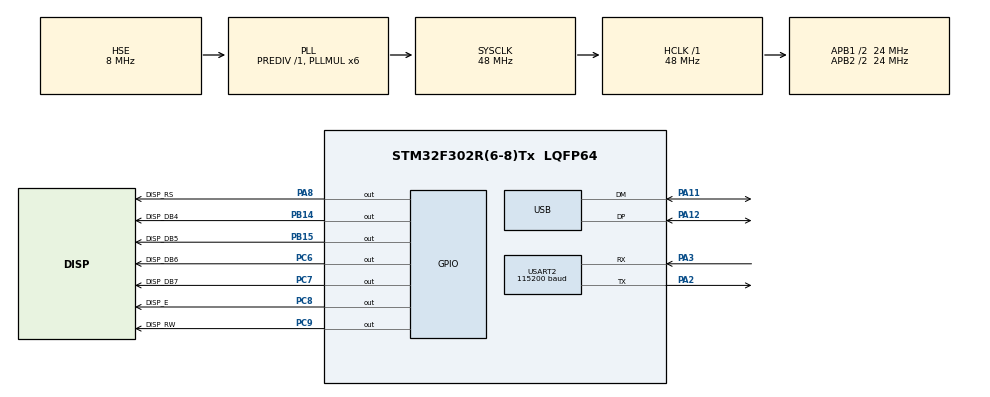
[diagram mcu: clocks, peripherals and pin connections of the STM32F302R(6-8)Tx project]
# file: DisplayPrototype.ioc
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Mcu.Family=STM32F3
Mcu.Name=STM32F302R(6-8)Tx
Mcu.Package=LQFP64
NVIC.PriorityGroup=NVIC_PRIORITYGROUP_4
NVIC.USB_LP_CAN_RX0_IRQn=true\:0\:0\:false\:false\:true
PA11.Mode=Device
PA11.Signal=USB_DM
PA12.Mode=Device
PA12.Signal=USB_DP
PA13.Mode=JTAG_5_pins
PA13.Signal=SYS_JTMS-SWDIO
PA14.Mode=JTAG_5_pins
PA14.Signal=SYS_JTCK-SWCLK
PA15.Mode=JTAG_5_pins
PA15.Signal=SYS_JTDI
PA2.Mode=Asynchronous
PA2.Signal=USART2_TX
PA3.Mode=Asynchronous
PA3.Signal=USART2_RX
PA8.GPIO_Label=DISP_RS
PA8.Signal=GPIO_Output
PB14.GPIO_Label=DISP_DB4
PB14.Signal=GPIO_Output
PB15.GPIO_Label=DISP_DB5
PB15.Signal=GPIO_Output
PB3.Mode=JTAG_5_pins
PB3.Signal=SYS_JTDO-TRACESWO
PB4.Mode=JTAG_5_pins
PB4.Signal=SYS_NJTRST
PC6.GPIO_Label=DISP_DB6
PC6.Signal=GPIO_Output
PC7.GPIO_Label=DISP_DB7
PC7.Signal=GPIO_Output
PC8.GPIO_Label=DISP_E
PC8.Signal=GPIO_Output
PC9.GPIO_Label=DISP_RW
PC9.Signal=GPIO_Output
PF0-OSC_IN.Mode=HSE-External-Oscillator
PF0-OSC_IN.Signal=RCC_OSC_IN
PF1-OSC_OUT.Mode=HSE-External-Oscillator
PF1-OSC_OUT.Signal=RCC_OSC_OUT
ProjectManager.HeapSize=0x200
ProjectManager.StackSize=0x400
ProjectManager.TargetToolchain=MDK-ARM V5
RCC.AHBFreq_Value=48000000
RCC.APB1CLKDivider=RCC_HCLK_DIV2
RCC.APB1Freq_Value=24000000
RCC.APB1TimFreq_Value=48000000
RCC.APB2CLKDivider=RCC_HCLK_DIV2
RCC.APB2Freq_Value=24000000
RCC.APB2TimFreq_Value=48000000
RCC.CortexFreq_Value=48000000
RCC.HCLKFreq_Value=48000000
RCC.HSE_VALUE=8000000
RCC.HSIState=RCC_HSI_ON
RCC.HSI_VALUE=8000000
RCC.LSE_VALUE=32768
RCC.PLLMUL=RCC_PLL_MUL6
RCC.SYSCLKFreq_VALUE=48000000
RCC.SYSCLKSourceVirtual=RCC_SYSCLKSOURCE_PLLCLK
RCC.USBFreq_Value=48000000
USART2.BaudRate=115200
USART2.WordLength=UART_WORDLENGTH_8B
USB_DEVICE.USBD_HandleTypeDef=hUsbDeviceFS
USB_DEVICE.VirtualMode=Hid
USB_DEVICE.VirtualModeFS=Hid_FS
VP_USB_DEVICE_VS_USB_DEVICE_HID_FS.Mode=HID_FS
board=DisplayPrototype

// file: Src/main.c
/**
  ******************************************************************************
  * File Name          : main.c
  * Description        : Main program body
  ******************************************************************************
  *
  * COPYRIGHT(c) 2016 STMicroelectronics
  *
  * Redistribution and use in source and binary forms, with or without modification,
  * are permitted provided that the following conditions are met:
  *   1. Redistributions of source code must retain the above copyright notice,
  *      this list of conditions and the following disclaimer.
  *   2. Redistributions in binary form must reproduce the above copyright notice,
  *      this list of conditions and the following disclaimer in the documentation
  *      and/or other materials provided with the distribution.
  *   3. Neither the name of STMicroelectronics nor the names of its contributors
  *      may be used to endorse or promote products derived from this software
  *      without specific prior written permission.
  *
  * THIS SOFTWARE IS PROVIDED BY THE COPYRIGHT HOLDERS AND CONTRIBUTORS "AS IS"
  * AND ANY EXPRESS OR IMPLIED WARRANTIES, INCLUDING, BUT NOT LIMITED TO, THE
  * IMPLIED WARRANTIES OF MERCHANTABILITY AND FITNESS FOR A PARTICULAR PURPOSE ARE
  * DISCLAIMED. IN NO EVENT SHALL THE COPYRIGHT HOLDER OR CONTRIBUTORS BE LIABLE
  * FOR ANY DIRECT, INDIRECT, INCIDENTAL, SPECIAL, EXEMPLARY, OR CONSEQUENTIAL
  * DAMAGES (INCLUDING, BUT NOT LIMITED TO, PROCUREMENT OF SUBSTITUTE GOODS OR
  * SERVICES; LOSS OF USE, DATA, OR PROFITS; OR BUSINESS INTERRUPTION) HOWEVER
  * CAUSED AND ON ANY THEORY OF LIABILITY, WHETHER IN CONTRACT, STRICT LIABILITY,
  * OR TORT (INCLUDING NEGLIGENCE OR OTHERWISE) ARISING IN ANY WAY OUT OF THE USE
  * OF THIS SOFTWARE, EVEN IF ADVISED OF THE POSSIBILITY OF SUCH DAMAGE.
  *
  ******************************************************************************
  */
#include "stm32f3xx_hal.h"
#include "usb_device.h"

UART_HandleTypeDef huart2;

/* USER CODE BEGIN PV */
/* Private variables ---------------------------------------------------------*/

/* USER CODE END PV */

void SystemClock_Config(void);
void Error_Handler(void);
static void MX_GPIO_Init(void);
static void MX_USART2_UART_Init(void);

/* USER CODE BEGIN PFP */
/* Private function prototypes -----------------------------------------------*/

/* USER CODE END PFP */

/* USER CODE BEGIN 0 */

void lcdDelay(void){
	uint32_t i;
	i = 0;
	while(i < 10000) i++;
}

uint8_t lcdReadBus(void){
	uint8_t data;

	// Configure bus as input
	GPIO_InitTypeDef GPIO_InitStruct;

	GPIO_InitStruct.Pin = DISP_DB4_Pin|DISP_DB5_Pin;
	GPIO_InitStruct.Mode = GPIO_MODE_INPUT;
	GPIO_InitStruct.Pull = GPIO_NOPULL;
	GPIO_InitStruct.Speed = GPIO_SPEED_FREQ_LOW;
	HAL_GPIO_Init(GPIOB, &GPIO_InitStruct);

	GPIO_InitStruct.Pin = DISP_DB6_Pin|DISP_DB7_Pin;
	GPIO_InitStruct.Mode = GPIO_MODE_INPUT;
	GPIO_InitStruct.Pull = GPIO_NOPULL;
	GPIO_InitStruct.Speed = GPIO_SPEED_FREQ_LOW;
	HAL_GPIO_Init(GPIOC, &GPIO_InitStruct);

	data = 0;
	if(HAL_GPIO_ReadPin(GPIOB,DISP_DB4_Pin))	data += 1;
	if(HAL_GPIO_ReadPin(GPIOB,DISP_DB5_Pin))	data += 2;
	if(HAL_GPIO_ReadPin(GPIOC,DISP_DB6_Pin))	data += 4;
	if(HAL_GPIO_ReadPin(GPIOC,DISP_DB7_Pin))	data += 8;

	return data;
}

void lcdWriteBus(uint8_t rs, uint8_t data){
	// Configure bus as output
	GPIO_InitTypeDef GPIO_InitStruct;

	/*Configure GPIO pins : DISP_DB4_Pin DISP_DB5_Pin */
	GPIO_InitStruct.Pin = DISP_DB4_Pin|DISP_DB5_Pin;
	GPIO_InitStruct.Mode = GPIO_MODE_OUTPUT_PP;
	GPIO_InitStruct.Pull = GPIO_NOPULL;
	GPIO_InitStruct.Speed = GPIO_SPEED_FREQ_LOW;
	HAL_GPIO_Init(GPIOB, &GPIO_InitStruct);

	/*Configure GPIO pins : DISP_DB6_Pin DISP_DB7_Pin DISP_E_Pin DISP_RW_Pin */
	GPIO_InitStruct.Pin = DISP_DB6_Pin|DISP_DB7_Pin|DISP_E_Pin|DISP_RW_Pin;
	GPIO_InitStruct.Mode = GPIO_MODE_OUTPUT_PP;
	GPIO_InitStruct.Pull = GPIO_NOPULL;
	GPIO_InitStruct.Speed = GPIO_SPEED_FREQ_LOW;
	HAL_GPIO_Init(GPIOC, &GPIO_InitStruct);

	/*Configure GPIO pin : DISP_RS_Pin */
	GPIO_InitStruct.Pin = DISP_RS_Pin;
	GPIO_InitStruct.Mode = GPIO_MODE_OUTPUT_PP;
	GPIO_InitStruct.Pull = GPIO_NOPULL;
	GPIO_InitStruct.Speed = GPIO_SPEED_FREQ_LOW;
	HAL_GPIO_Init(DISP_RS_GPIO_Port, &GPIO_InitStruct);

	lcdDelay();
	if(rs)	HAL_GPIO_WritePin(DISP_RS_GPIO_Port, DISP_RS_Pin, GPIO_PIN_RESET);
	else 	HAL_GPIO_WritePin(DISP_RS_GPIO_Port, DISP_RS_Pin, GPIO_PIN_SET);

	HAL_GPIO_WritePin(GPIOC, DISP_RW_Pin, GPIO_PIN_SET);

	lcdDelay();

	HAL_GPIO_WritePin(GPIOC, DISP_E_Pin, GPIO_PIN_RESET);

	lcdDelay();

	if(data & 0x01)	HAL_GPIO_WritePin(GPIOB, DISP_DB4_Pin, GPIO_PIN_RESET);
	else			HAL_GPIO_WritePin(GPIOB, DISP_DB4_Pin, GPIO_PIN_SET);

	if(data & 0x02)	HAL_GPIO_WritePin(GPIOB, DISP_DB5_Pin, GPIO_PIN_RESET);
	else			HAL_GPIO_WritePin(GPIOB, DISP_DB5_Pin, GPIO_PIN_SET);

	if(data & 0x04)	HAL_GPIO_WritePin(GPIOC, DISP_DB6_Pin, GPIO_PIN_RESET);
	else			HAL_GPIO_WritePin(GPIOC, DISP_DB6_Pin, GPIO_PIN_SET);

	if(data & 0x08)	HAL_GPIO_WritePin(GPIOC, DISP_DB7_Pin, GPIO_PIN_RESET);
	else			HAL_GPIO_WritePin(GPIOC, DISP_DB7_Pin, GPIO_PIN_SET);

	lcdDelay();

	HAL_GPIO_WritePin(GPIOC, DISP_E_Pin, GPIO_PIN_SET);

	lcdDelay();
}

void lcdInit(void){

	// Top nibble first

//	lcdWriteBus(0,0x03);
//	lcdWriteBus(0,0x03);
//	lcdWriteBus(0,0x03);
//

//	lcdWriteBus(0,0x02);
//	lcdWriteBus(0,0x02);
//	lcdWriteBus(0,0x0C);
//	lcdWriteBus(0,0x00);
//	lcdWriteBus(0,0x08);
//	lcdWriteBus(0,0x00);
//	lcdWriteBus(0,0x01);
//	lcdWriteBus(0,0x00);
//	lcdWriteBus(0,0x07);

	lcdWriteBus(0,0x02);
	lcdWriteBus(0,0x02);
	lcdWriteBus(0,0x00);
	lcdWriteBus(0,0x00);
	lcdWriteBus(0,0x0E);
	lcdWriteBus(0,0x00);
	lcdWriteBus(0,0x06);
	lcdWriteBus(1,0x05);
	lcdWriteBus(1,0x07);

}

/* USER CODE END 0 */

int main(void)
{

  /* USER CODE BEGIN 1 */

	uint8_t buffer[32];
	uint32_t i;

  /* USER CODE END 1 */

  /* MCU Configuration----------------------------------------------------------*/

  /* Reset of all peripherals, Initializes the Flash interface and the Systick. */
  HAL_Init();

  /* Configure the system clock */
  SystemClock_Config();

  /* Initialize all configured peripherals */
  MX_GPIO_Init();
  MX_USART2_UART_Init();
  MX_USB_DEVICE_Init();

  /* USER CODE BEGIN 2 */
	buffer[0] = 't';
	buffer[1] = 'e';
	buffer[2] = 's';
	buffer[3] = 't';
	buffer[4] = '\n';
	buffer[5] = '\r';

	HAL_UART_Transmit(&huart2, &buffer[0], 6, 10);

	//for(;;){
		for(i=0;i<100;i++){
		lcdDelay();
	}

		lcdInit();

		HAL_UART_Transmit(&huart2, &buffer[0], 6, 10);
	//}
	//buffer[0] = lcdReadBus() + 65;
	//HAL_UART_Transmit(&huart2, &buffer[0], 1, 10);

  /* USER CODE END 2 */

  /* Infinite loop */
  while (1)
  {

  }

}

/** System Clock Configuration
*/
void SystemClock_Config(void)
{

  RCC_OscInitTypeDef RCC_OscInitStruct;
  RCC_ClkInitTypeDef RCC_ClkInitStruct;
  RCC_PeriphCLKInitTypeDef PeriphClkInit;

  RCC_OscInitStruct.OscillatorType = RCC_OSCILLATORTYPE_HSE;
  RCC_OscInitStruct.HSEState = RCC_HSE_ON;
  RCC_OscInitStruct.HSEPredivValue = RCC_HSE_PREDIV_DIV1;
  RCC_OscInitStruct.PLL.PLLState = RCC_PLL_ON;
  RCC_OscInitStruct.PLL.PLLSource = RCC_PLLSOURCE_HSE;
  RCC_OscInitStruct.PLL.PLLMUL = RCC_PLL_MUL6;
  if (HAL_RCC_OscConfig(&RCC_OscInitStruct) != HAL_OK)
  {
    Error_Handler();
  }

  RCC_ClkInitStruct.ClockType = RCC_CLOCKTYPE_HCLK|RCC_CLOCKTYPE_SYSCLK
                              |RCC_CLOCKTYPE_PCLK1|RCC_CLOCKTYPE_PCLK2;
  RCC_ClkInitStruct.SYSCLKSource = RCC_SYSCLKSOURCE_PLLCLK;
  RCC_ClkInitStruct.AHBCLKDivider = RCC_SYSCLK_DIV1;
  RCC_ClkInitStruct.APB1CLKDivider = RCC_HCLK_DIV2;
  RCC_ClkInitStruct.APB2CLKDivider = RCC_HCLK_DIV2;
  if (HAL_RCC_ClockConfig(&RCC_ClkInitStruct, FLASH_LATENCY_1) != HAL_OK)
  {
    Error_Handler();
  }

  PeriphClkInit.PeriphClockSelection = RCC_PERIPHCLK_USB;
  PeriphClkInit.USBClockSelection = RCC_USBCLKSOURCE_PLL;
  if (HAL_RCCEx_PeriphCLKConfig(&PeriphClkInit) != HAL_OK)
  {
    Error_Handler();
  }

  HAL_SYSTICK_Config(HAL_RCC_GetHCLKFreq()/1000);

  HAL_SYSTICK_CLKSourceConfig(SYSTICK_CLKSOURCE_HCLK);

  /* SysTick_IRQn interrupt configuration */
  HAL_NVIC_SetPriority(SysTick_IRQn, 0, 0);
}

/* USART2 init function */
static void MX_USART2_UART_Init(void)
{

  huart2.Instance = USART2;
  huart2.Init.BaudRate = 9600;
  huart2.Init.WordLength = UART_WORDLENGTH_8B;
  huart2.Init.StopBits = UART_STOPBITS_1;
  huart2.Init.Parity = UART_PARITY_NONE;
  huart2.Init.Mode = UART_MODE_TX_RX;
  huart2.Init.HwFlowCtl = UART_HWCONTROL_NONE;
  huart2.Init.OverSampling = UART_OVERSAMPLING_16;
  huart2.Init.OneBitSampling = UART_ONE_BIT_SAMPLE_DISABLE;
  huart2.AdvancedInit.AdvFeatureInit = UART_ADVFEATURE_NO_INIT;
  if (HAL_UART_Init(&huart2) != HAL_OK)
  {
    Error_Handler();
  }

}

/** Configure pins as
        * Analog
        * Input
        * Output
        * EVENT_OUT
        * EXTI
*/
static void MX_GPIO_Init(void)
{

  GPIO_InitTypeDef GPIO_InitStruct;

  /* GPIO Ports Clock Enable */
  __HAL_RCC_GPIOF_CLK_ENABLE();
  __HAL_RCC_GPIOA_CLK_ENABLE();
  __HAL_RCC_GPIOB_CLK_ENABLE();
  __HAL_RCC_GPIOC_CLK_ENABLE();

  /*Configure GPIO pin Output Level */
  HAL_GPIO_WritePin(GPIOB, DISP_DB4_Pin|DISP_DB5_Pin, GPIO_PIN_RESET);

  /*Configure GPIO pin Output Level */
  HAL_GPIO_WritePin(GPIOC, DISP_DB6_Pin|DISP_DB7_Pin|DISP_E_Pin|DISP_RW_Pin, GPIO_PIN_RESET);

  /*Configure GPIO pin Output Level */
  HAL_GPIO_WritePin(DISP_RS_GPIO_Port, DISP_RS_Pin, GPIO_PIN_RESET);

  /*Configure GPIO pins : DISP_DB4_Pin DISP_DB5_Pin */
  GPIO_InitStruct.Pin = DISP_DB4_Pin|DISP_DB5_Pin;
  GPIO_InitStruct.Mode = GPIO_MODE_OUTPUT_PP;
  GPIO_InitStruct.Pull = GPIO_NOPULL;
  GPIO_InitStruct.Speed = GPIO_SPEED_FREQ_LOW;
  HAL_GPIO_Init(GPIOB, &GPIO_InitStruct);

  /*Configure GPIO pins : DISP_DB6_Pin DISP_DB7_Pin DISP_E_Pin DISP_RW_Pin */
  GPIO_InitStruct.Pin = DISP_DB6_Pin|DISP_DB7_Pin|DISP_E_Pin|DISP_RW_Pin;
  GPIO_InitStruct.Mode = GPIO_MODE_OUTPUT_PP;
  GPIO_InitStruct.Pull = GPIO_NOPULL;
  GPIO_InitStruct.Speed = GPIO_SPEED_FREQ_LOW;
  HAL_GPIO_Init(GPIOC, &GPIO_InitStruct);

  /*Configure GPIO pin : DISP_RS_Pin */
  GPIO_InitStruct.Pin = DISP_RS_Pin;
  GPIO_InitStruct.Mode = GPIO_MODE_OUTPUT_PP;
  GPIO_InitStruct.Pull = GPIO_NOPULL;
  GPIO_InitStruct.Speed = GPIO_SPEED_FREQ_LOW;
  HAL_GPIO_Init(DISP_RS_GPIO_Port, &GPIO_InitStruct);

}

void Error_Handler(void)
{
  while(1)
  {
  }
}

/************************ (C) COPYRIGHT STMicroelectronics *****END OF FILE****/
